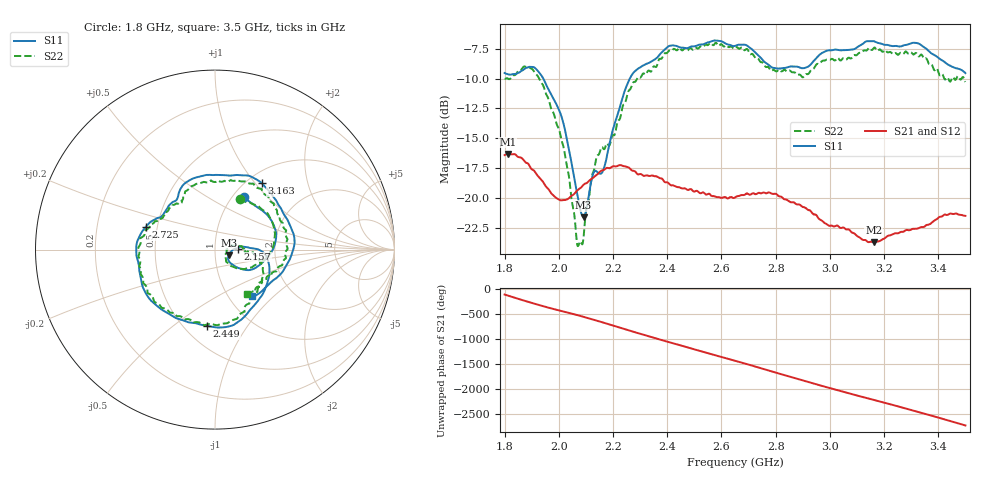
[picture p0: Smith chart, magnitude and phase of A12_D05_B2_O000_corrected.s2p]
! Created with skrf 1.9.0 (http://scikit-rf.org).
# Hz S RI R 50.0
!freq ReS11 ImS11 ReS21 ImS21 ReS12 ImS12 ReS22 ImS22
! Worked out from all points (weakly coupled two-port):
!   1601 points, 1.8 GHz to 3.5 GHz, reference 50 ohm
!   highest |S21| = -16.30 dB at 1.812 GHz (marker M1); lowest = -23.7 dB at 3.162 GHz (marker M2)
!   lowest |S11| = -21.6 dB at 2.091 GHz (marker M3), VSWR 1.18, Z = 58.2 - j3.62 ohm
!   |S11| at or under -10 dB: 1.943 GHz to 2.262 GHz (318.9 MHz wide, 15.2 % of centre)
!   |S22| runs from -24.0 to -7.0 dB; largest |S21 - S12| = 0.0028
!   S11 on the Smith chart (normalised r, x): 1.8 GHz: 1.13, +0.74; 2.157 GHz: 1.29, +0.02; 2.449 GHz: 0.64, -0.67; 2.725 GHz: 0.43, +0.13; 3.163 GHz: 1.16, +1.08; 3.5 GHz: 1.28, -0.75
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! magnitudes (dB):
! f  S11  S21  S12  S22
! 1.8 GHz  -9.5  -16.4  -16.4  -10.0
! 1.812 GHz  -9.6  -16.3  -16.3  -10.0
! 1.882 GHz  -9.1  -17.1  -17.1  -9.0
! 1.941 GHz  -9.9  -18.6  -18.6  -10.5
! 2.014 GHz  -13.4  -20.2  -20.2  -15.4
! 2.068 GHz  -19.6  -19.4  -19.4  -23.9
! 2.084 GHz  -21.3  -19.1  -19.0  -23.8
! 2.091 GHz  -21.6  -18.9  -18.9  -23.3
! 2.127 GHz  -17.9  -18.3  -18.3  -17.8
! 2.157 GHz  -17.9  -17.7  -17.7  -15.8
! 2.261 GHz  -10.0  -17.5  -17.5  -10.9
! 2.367 GHz  -8.1  -18.3  -18.2  -8.5
! 2.449 GHz  -7.4  -19.1  -19.1  -7.5
! 2.65 GHz  -7.3  -20.0  -19.9  -7.5
! 2.725 GHz  -7.8  -19.7  -19.7  -8.3
! 2.797 GHz  -9.1  -19.6  -19.6  -9.3
! 2.934 GHz  -8.7  -21.2  -21.2  -9.2
! 3.162 GHz  -6.9  -23.7  -23.7  -7.4
! 3.163 GHz  -6.9  -23.7  -23.7  -7.4
! 3.217 GHz  -7.2  -23.1  -23.1  -7.8
! 3.326 GHz  -7.0  -22.5  -22.5  -8.1
! 3.5 GHz  -9.5  -21.5  -21.5  -10.3
